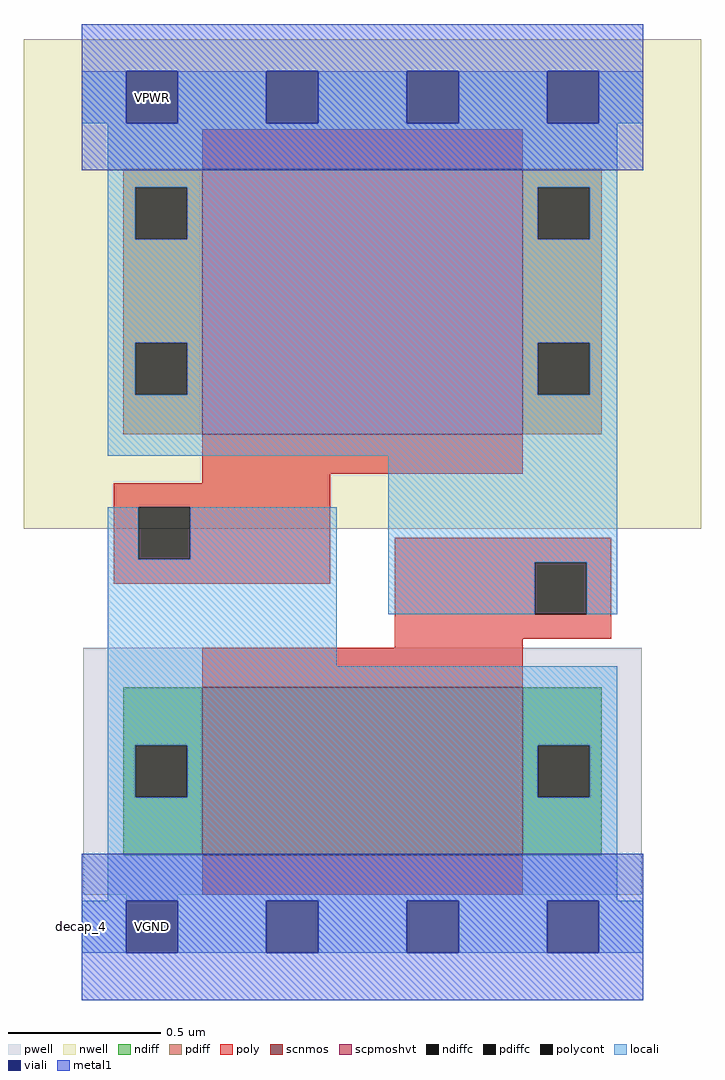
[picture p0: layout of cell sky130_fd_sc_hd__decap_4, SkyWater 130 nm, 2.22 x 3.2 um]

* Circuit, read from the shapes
.subckt sky130_fd_sc_hd__decap_4 VGND VPWR VPB VNB
XM1 VGND VPWR VGND VNB sky130_fd_pr__nfet_01v8 w=0.55 l=1.05
XM2 VPWR VGND VPWR VPB sky130_fd_pr__pfet_01v8_hvt w=0.87 l=1.05
.ends

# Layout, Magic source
magic
tech sky130B
magscale 1 2
<< nwell >>
rect -38 221 406 542
<< pwell >>
rect 1 -19 367 143
rect 29 -57 63 -19
<< scnmos >>
rect 79 7 289 117
<< scpmoshvt >>
rect 79 283 289 457
<< ndiff >>
rect 27 79 79 117
rect 27 45 35 79
rect 69 45 79 79
rect 27 7 79 45
rect 289 79 341 117
rect 289 45 299 79
rect 333 45 341 79
rect 289 7 341 45
<< pdiff >>
rect 27 445 79 457
rect 27 411 35 445
rect 69 411 79 445
rect 27 343 79 411
rect 27 309 35 343
rect 69 309 79 343
rect 27 283 79 309
rect 289 445 341 457
rect 289 411 299 445
rect 333 411 341 445
rect 289 343 341 411
rect 289 309 299 343
rect 333 309 341 343
rect 289 283 341 309
<< ndiffc >>
rect 35 45 69 79
rect 299 45 333 79
<< pdiffc >>
rect 35 411 69 445
rect 35 309 69 343
rect 299 411 333 445
rect 299 309 333 343
<< poly >>
rect 79 457 289 483
rect 79 257 289 283
rect 79 251 163 257
rect 21 235 163 251
rect 21 201 37 235
rect 71 201 163 235
rect 21 185 163 201
rect 205 199 347 215
rect 205 165 297 199
rect 331 165 347 199
rect 205 149 347 165
rect 205 143 289 149
rect 79 117 289 143
rect 79 -19 289 7
<< polycont >>
rect 37 201 71 235
rect 297 165 331 199
<< locali >>
rect 0 487 29 521
rect 63 487 121 521
rect 155 487 213 521
rect 247 487 305 521
rect 339 487 368 521
rect 17 445 351 487
rect 17 411 35 445
rect 69 411 299 445
rect 333 411 351 445
rect 17 343 351 411
rect 17 309 35 343
rect 69 309 299 343
rect 333 309 351 343
rect 17 269 351 309
rect 17 201 37 235
rect 71 201 167 235
rect 17 131 167 201
rect 201 199 351 269
rect 201 165 297 199
rect 331 165 351 199
rect 17 79 351 131
rect 17 45 35 79
rect 69 45 299 79
rect 333 45 351 79
rect 17 -23 351 45
rect 0 -57 29 -23
rect 63 -57 121 -23
rect 155 -57 213 -23
rect 247 -57 305 -23
rect 339 -57 368 -23
<< viali >>
rect 29 487 63 521
rect 121 487 155 521
rect 213 487 247 521
rect 305 487 339 521
rect 29 -57 63 -23
rect 121 -57 155 -23
rect 213 -57 247 -23
rect 305 -57 339 -23
<< metal1 >>
rect 0 521 368 552
rect 0 487 29 521
rect 63 487 121 521
rect 155 487 213 521
rect 247 487 305 521
rect 339 487 368 521
rect 0 456 368 487
rect 0 -23 368 8
rect 0 -57 29 -23
rect 63 -57 121 -23
rect 155 -57 213 -23
rect 247 -57 305 -23
rect 339 -57 368 -23
rect 0 -88 368 -57
<< labels >>
rlabel comment s 0 -40 0 -40 4 decap_4
flabel metal1 s 29 -57 63 -23 0 FreeSans 200 0 0 0 VGND
port 2 nsew
flabel metal1 s 29 487 63 521 0 FreeSans 200 0 0 0 VPWR
port 3 nsew
flabel nwell s 29 487 63 521 0 FreeSans 200 0 0 0 VPB
port 5 nsew
flabel pwell s 29 -57 63 -23 0 FreeSans 200 0 0 0 VNB
port 6 nsew
<< properties >>
string FIXED_BBOX 0 -40 368 504
string path 0.000 -1.000 9.200 -1.000 
<< end >>
